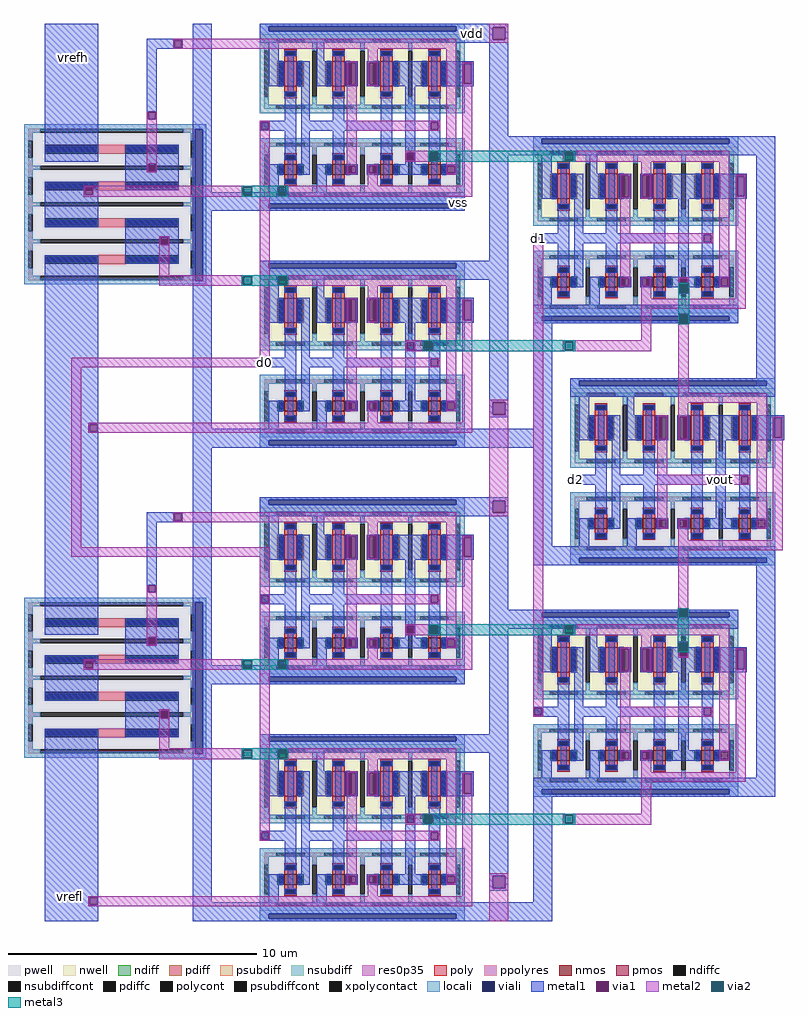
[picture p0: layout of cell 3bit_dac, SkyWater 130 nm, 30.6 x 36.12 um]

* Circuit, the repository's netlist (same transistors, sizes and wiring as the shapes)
** sch_path: /home/97ms/uci/ip/dac/1.schematics/3bit_dac.sch


.subckt 3bit_dac vdd vss vrefh vrefl d0 d1 d2 vout
X1 vdd vss vrefh net3 d0 d1 net1 2bit_dac
X2 vdd vss net3 vrefl d0 d1 net2 2bit_dac
X3 vdd vss d2 net1 net2 vout sw
.ends
** sch_path: /home/97ms/uci/ip/dac/1.schematics/sw.sch


.subckt sw vdd vss din vin1 vin2 vout
*.iopin vdd
*.iopin vss
*.iopin din
*.iopin vin1
*.iopin vin2
*.iopin vout
XM1 net1 din vdd vdd sky130_fd_pr__pfet_01v8 L=0.5 W=1
XM2 net2 net1 vdd vdd sky130_fd_pr__pfet_01v8 L=0.5 W=1
XM3 vout net1 vin1 vdd sky130_fd_pr__pfet_01v8 L=0.5 W=1
XM4 vin2 net2 vout vdd sky130_fd_pr__pfet_01v8 L=0.5 W=1
XM5 net1 din vss vss sky130_fd_pr__nfet_01v8 L=0.5 W=0.42
XM6 net2 net1 vss vss sky130_fd_pr__nfet_01v8 L=0.5 W=0.42
XM7 vout net1 vin2 vss sky130_fd_pr__nfet_01v8 L=0.5 W=0.42
XM8 vin1 net2 vout vss sky130_fd_pr__nfet_01v8 L=0.5 W=0.42
**.ends
.ends sw
** sch_path: /home/97ms/uci/ip/dac/1.schematics/2bit_dac.sch

.subckt 2bit_dac vdd vss vrefh vrefl d0 d1 vout
X1 vdd vss d0 net3 net4 net2 sw
X2 vdd vss d0 net5 vrefl net1 sw
X3 vdd vss d1 net2 net1 vout sw
XR1 net3 vrefh vss sky130_fd_pr__res_high_po_0p35 L=1.09 mult=1 
XR2 net4 net3 vss sky130_fd_pr__res_high_po_0p35 L=1.09 mult=1 
XR3 net5 net4 vss sky130_fd_pr__res_high_po_0p35 L=1.09 mult=1 
XR4 vrefl net5 vss sky130_fd_pr__res_high_po_0p35 L=1.09 mult=1 
.ends

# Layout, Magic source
magic
tech sky130B
<< metal1 >>
rect 2187 1947 2227 1987
rect 548 1820 648 1920
rect 3275 1477 3425 1553
rect 2131 1266 2171 1306
rect 2450 1158 2490 1163
rect 2450 1128 2455 1158
rect 2485 1128 2490 1158
rect 2450 1123 2490 1128
rect 3037 951 3041 981
rect 3071 951 3077 981
rect 1350 623 1390 663
rect 3349 504 3425 1477
rect 1134 300 1156 301
rect 483 100 699 300
rect 1080 100 1156 300
rect 2450 -97 2526 403
rect 2600 150 2640 190
rect 3186 150 3226 190
rect 2450 -173 2600 -97
rect 3035 -540 3040 -510
rect 3070 -540 3075 -510
rect 2450 -778 2455 -748
rect 2485 -778 2490 -748
rect 3349 -1030 3425 -97
rect 3275 -1106 3425 -1030
rect 535 -1559 635 -1459
<< via1 >>
rect 2455 1128 2485 1158
rect 3041 951 3071 981
rect 3040 -540 3070 -510
rect 2455 -778 2485 -748
<< metal2 >>
rect 2450 1158 2490 1163
rect 2450 1128 2455 1158
rect 2485 1128 2490 1158
rect 590 623 1390 663
rect 590 -100 630 623
rect 2274 100 2350 300
rect 590 -140 1390 -100
rect 1350 -290 1390 -140
rect 2450 -748 2490 1128
rect 3035 981 3076 986
rect 3035 958 3041 981
rect 3071 958 3076 981
rect 3035 924 3039 958
rect 3073 924 3076 958
rect 3035 919 3076 924
rect 3035 835 3076 840
rect 3035 801 3039 835
rect 3073 801 3076 835
rect 3035 520 3076 801
rect 3035 -349 3075 -113
rect 3035 -383 3038 -349
rect 3072 -383 3075 -349
rect 3035 -390 3075 -383
rect 3035 -486 3075 -480
rect 3035 -520 3038 -486
rect 3072 -520 3075 -486
rect 3035 -540 3040 -520
rect 3070 -540 3075 -520
rect 3035 -545 3075 -540
rect 2450 -778 2455 -748
rect 2485 -778 2490 -748
rect 2450 -783 2490 -778
<< via2 >>
rect 3039 951 3041 958
rect 3041 951 3071 958
rect 3071 951 3073 958
rect 3039 924 3073 951
rect 3039 801 3073 835
rect 3038 -383 3072 -349
rect 3038 -510 3072 -486
rect 3038 -520 3040 -510
rect 3040 -520 3070 -510
rect 3070 -520 3072 -510
<< metal3 >>
rect 3034 958 3078 963
rect 3034 924 3039 958
rect 3073 924 3078 958
rect 3034 835 3078 924
rect 3034 801 3039 835
rect 3073 801 3078 835
rect 3034 796 3078 801
rect 3033 -349 3077 -346
rect 3033 -383 3038 -349
rect 3072 -383 3077 -349
rect 3033 -486 3077 -383
rect 3033 -520 3038 -486
rect 3072 -520 3077 -486
rect 3033 -523 3077 -520
use sw  sw_0
transform 1 0 2600 0 1 220
box 0 -393 860 360
use 2bit_dac  X1
transform 1 0 1350 0 1 1253
box -950 -953 1960 753
use 2bit_dac  X2
transform 1 0 1350 0 1 -653
box -950 -953 1960 753
<< labels >>
flabel metal1 548 1820 648 1920 0 FreeSans 128 0 0 0 vrefh
port 2 nsew
flabel metal1 535 -1559 635 -1459 0 FreeSans 128 0 0 0 vrefl
port 3 nsew
flabel metal1 2187 1947 2227 1987 0 FreeSans 128 0 0 0 vdd
port 0 nsew
flabel metal1 1350 623 1390 663 0 FreeSans 128 0 0 0 d0
port 4 nsew
flabel metal1 2450 1123 2490 1163 0 FreeSans 128 0 0 0 d1
port 5 nsew
flabel metal1 2600 150 2640 190 0 FreeSans 128 0 0 0 d2
port 6 nsew
flabel metal1 3186 150 3226 190 0 FreeSans 128 0 0 0 vout
port 7 nsew
flabel metal1 2131 1266 2171 1306 0 FreeSans 128 0 0 0 vss
port 1 nsew
<< end >>

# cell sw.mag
magic
tech sky130B
magscale 1 2
<< locali >>
rect 0 700 1650 720
rect 0 660 70 700
rect 1580 660 1650 700
rect 0 568 1650 660
rect 0 70 70 568
rect 1580 70 1650 568
rect 0 0 1650 70
rect 0 -270 1650 -200
rect 0 -634 70 -270
rect 1586 -634 1650 -270
rect 0 -726 1650 -634
rect 0 -766 70 -726
rect 1580 -766 1650 -726
rect 0 -786 1650 -766
<< viali >>
rect 70 660 1580 700
rect 70 -766 1580 -726
<< metal1 >>
rect 0 700 1650 720
rect 0 660 70 700
rect 1580 660 1650 700
rect 0 568 1650 660
rect 70 420 150 568
rect 70 218 190 420
rect 224 178 272 460
rect 456 420 516 568
rect 302 218 402 420
rect 456 218 576 420
rect 200 -60 292 132
rect 0 -140 292 -60
rect 200 -332 292 -140
rect 332 -60 402 218
rect 608 178 656 460
rect 688 408 788 420
rect 688 230 710 408
rect 770 230 788 408
rect 688 218 788 230
rect 862 408 962 420
rect 862 230 880 408
rect 940 230 962 408
rect 862 218 962 230
rect 994 178 1042 460
rect 1074 218 1348 420
rect 586 -60 678 132
rect 972 -60 1064 132
rect 332 -140 1064 -60
rect 70 -494 190 -410
rect 70 -634 150 -494
rect 222 -526 270 -378
rect 332 -410 402 -140
rect 586 -332 678 -140
rect 972 -332 1064 -140
rect 302 -494 402 -410
rect 456 -494 576 -410
rect 456 -634 536 -494
rect 608 -526 656 -378
rect 688 -422 788 -410
rect 688 -482 710 -422
rect 770 -482 788 -422
rect 688 -494 788 -482
rect 862 -422 962 -410
rect 862 -482 880 -422
rect 940 -482 962 -422
rect 862 -494 962 -482
rect 994 -526 1042 -378
rect 1170 -410 1252 218
rect 1380 178 1428 460
rect 1460 400 1720 420
rect 1460 240 1640 400
rect 1700 240 1720 400
rect 1460 218 1720 240
rect 1358 -70 1450 132
rect 1358 -130 1374 -70
rect 1434 -130 1450 -70
rect 1358 -332 1450 -130
rect 1074 -494 1348 -410
rect 1380 -526 1428 -378
rect 1460 -422 1580 -410
rect 1460 -482 1510 -422
rect 1570 -482 1580 -422
rect 1460 -494 1580 -482
rect 0 -726 1650 -634
rect 0 -766 70 -726
rect 1580 -766 1650 -726
rect 0 -786 1650 -766
<< via1 >>
rect 710 230 770 408
rect 880 230 940 408
rect 710 -482 770 -422
rect 880 -482 940 -422
rect 1640 240 1700 400
rect 1374 -130 1434 -70
rect 1510 -482 1570 -422
<< metal2 >>
rect 870 520 1580 600
rect 700 408 780 420
rect 700 230 710 408
rect 770 230 780 408
rect 700 -60 780 230
rect 870 408 950 520
rect 870 230 880 408
rect 940 230 950 408
rect 870 220 950 230
rect 700 -70 1450 -60
rect 700 -130 1374 -70
rect 1434 -130 1450 -70
rect 700 -140 1450 -130
rect 700 -422 780 -140
rect 700 -482 710 -422
rect 770 -482 780 -422
rect 700 -492 780 -482
rect 870 -422 950 -412
rect 870 -482 880 -422
rect 940 -482 950 -422
rect 870 -586 950 -482
rect 1500 -422 1580 520
rect 1500 -482 1510 -422
rect 1570 -482 1580 -422
rect 1500 -494 1580 -482
rect 1630 400 1710 410
rect 1630 240 1640 400
rect 1700 240 1710 400
rect 1630 -586 1710 240
rect 870 -666 1710 -586
use sky130_fd_pr__pfet_01v8_XPYSY6  XM1
transform 1 0 246 0 1 319
box -246 -319 246 319
use sky130_fd_pr__pfet_01v8_XPYSY6  XM2
transform 1 0 632 0 1 319
box -246 -319 246 319
use sky130_fd_pr__pfet_01v8_XPYSY6  XM3
transform 1 0 1018 0 1 319
box -246 -319 246 319
use sky130_fd_pr__pfet_01v8_XPYSY6  XM4
transform 1 0 1404 0 1 319
box -246 -319 246 319
use sky130_fd_pr__nfet_01v8_ZFH27D  XM5
transform 1 0 246 0 1 -452
box -246 -252 246 252
use sky130_fd_pr__nfet_01v8_ZFH27D  XM6
transform 1 0 632 0 1 -452
box -246 -252 246 252
use sky130_fd_pr__nfet_01v8_ZFH27D  XM7
transform 1 0 1018 0 1 -452
box -246 -252 246 252
use sky130_fd_pr__nfet_01v8_ZFH27D  XM8
transform 1 0 1404 0 1 -452
box -246 -252 246 252
<< labels >>
flabel metal1 20 660 60 700 0 FreeSans 128 0 0 0 vdd
port 0 nsew
flabel metal1 20 -766 60 -726 0 FreeSans 128 0 0 0 vss
port 1 nsew
flabel metal1 0 -120 40 -80 0 FreeSans 128 0 0 0 din
port 2 nsew
flabel metal1 862 380 902 420 0 FreeSans 128 0 0 0 vin1
port 3 nsew
flabel metal1 862 -494 902 -454 0 FreeSans 128 0 0 0 vin2
port 4 nsew
flabel metal1 1180 -120 1220 -80 0 FreeSans 128 0 0 0 vout
port 5 nsew
<< end >>

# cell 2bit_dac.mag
magic
tech sky130B
magscale 1 2
<< locali >>
rect -1900 660 -432 698
rect -1900 644 -520 660
rect -1900 -544 -1846 644
rect -540 -544 -520 644
rect -1900 -560 -520 -544
rect -460 -560 -432 660
rect -1900 -592 -432 -560
<< viali >>
rect -520 -560 -460 660
<< metal1 >>
rect -1734 398 -1302 1506
rect -910 1376 -620 1386
rect -910 1316 -690 1376
rect -630 1316 -620 1376
rect -910 1306 -620 1316
rect -910 800 -830 1306
rect -910 740 -900 800
rect -840 740 -830 800
rect -540 660 -388 1506
rect 0 1486 22 1506
rect 0 1446 60 1486
rect 1650 1480 2000 1506
rect 0 1354 22 1446
rect 1650 1380 1874 1480
rect 1974 1380 2000 1480
rect 1650 1354 2000 1380
rect -1084 380 -652 532
rect -1084 320 -900 380
rect -840 320 -652 380
rect -1734 190 -1302 236
rect -1734 130 -1406 190
rect -1346 130 -1302 190
rect -1084 166 -652 320
rect -1734 -130 -1302 130
rect -1084 -212 -652 -60
rect -1084 -272 -800 -212
rect -740 -272 -652 -212
rect -1734 -1716 -1302 -356
rect -1084 -426 -652 -272
rect -1734 -1776 -1372 -1716
rect -1312 -1776 -1302 -1716
rect -1734 -1906 -1302 -1776
rect -540 -560 -520 660
rect -460 152 -388 660
rect 0 656 10 716
rect 70 656 80 716
rect 1848 600 2000 1354
rect 1172 410 1182 470
rect 1242 410 1252 470
rect 1848 448 2200 600
rect -460 0 0 152
rect 20 20 60 60
rect -460 -560 -388 0
rect 1848 -400 2000 448
rect 2200 -240 2240 -200
rect 3380 -240 3420 -200
rect 1650 -552 2000 -400
rect -540 -1754 -388 -560
rect 1172 -1116 1182 -1056
rect 1242 -1116 1252 -1056
rect 0 -1250 10 -1190
rect 70 -1250 80 -1190
rect 1848 -1540 2000 -552
rect 1848 -1640 1874 -1540
rect 1974 -1640 2000 -1540
rect 1848 -1660 2000 -1640
rect 2200 -796 2214 -754
rect 2200 -1754 2352 -796
rect -540 -1906 0 -1754
rect 1650 -1906 2352 -1754
<< via1 >>
rect -690 1316 -630 1376
rect -900 740 -840 800
rect 1874 1380 1974 1480
rect -900 320 -840 380
rect -1406 130 -1346 190
rect -800 -272 -740 -212
rect -1372 -1776 -1312 -1716
rect 10 656 70 716
rect 1182 410 1242 470
rect 1182 -1116 1242 -1056
rect 10 -1250 70 -1190
rect 1874 -1640 1974 -1540
<< metal2 >>
rect 1848 1480 2000 1506
rect -700 1376 870 1386
rect -700 1316 -690 1376
rect -630 1316 870 1376
rect 1848 1380 1874 1480
rect 1974 1380 2000 1480
rect 1848 1354 2000 1380
rect -700 1306 870 1316
rect -910 740 -900 800
rect -840 740 -830 800
rect -910 380 -830 740
rect -910 320 -900 380
rect -840 320 -830 380
rect -910 310 -830 320
rect 0 716 80 726
rect 0 656 10 716
rect 70 656 80 716
rect -1420 194 -60 204
rect -1420 190 -134 194
rect -1420 130 -1406 190
rect -1346 130 -134 190
rect -1420 126 -134 130
rect -68 126 -60 194
rect -1420 116 -60 126
rect -810 -212 -730 -202
rect -810 -272 -800 -212
rect -740 -272 -730 -212
rect -810 -516 -730 -272
rect -810 -526 -60 -516
rect -810 -594 -134 -526
rect -68 -594 -60 -526
rect -810 -604 -60 -594
rect 0 -1190 80 656
rect 1170 474 1434 484
rect 1170 470 1366 474
rect 1170 410 1182 470
rect 1242 410 1366 470
rect 1170 406 1366 410
rect 1170 396 1434 406
rect 2440 474 3780 484
rect 2440 406 2456 474
rect 2524 406 3780 474
rect 2440 396 3780 406
rect 140 194 1710 204
rect 140 126 146 194
rect 212 126 1710 194
rect 140 116 1710 126
rect 140 -526 1580 -516
rect 140 -594 146 -526
rect 214 -594 1580 -526
rect 140 -604 1580 -594
rect 3070 -1042 3150 -786
rect 1170 -1052 1400 -1042
rect 1170 -1056 1320 -1052
rect 1170 -1116 1182 -1056
rect 1242 -1116 1320 -1056
rect 1170 -1120 1320 -1116
rect 1388 -1120 1400 -1052
rect 1170 -1130 1400 -1120
rect 2440 -1052 3150 -1042
rect 2440 -1120 2456 -1052
rect 2524 -1120 3150 -1052
rect 2440 -1130 3150 -1120
rect 0 -1250 10 -1190
rect 70 -1250 80 -1190
rect 0 -1260 80 -1250
rect 1848 -1540 2000 -1520
rect 1848 -1640 1874 -1540
rect 1974 -1640 2000 -1540
rect -1382 -1716 870 -1706
rect -1382 -1776 -1372 -1716
rect -1312 -1776 870 -1716
rect -1382 -1786 870 -1776
rect 1848 -1906 2000 -1640
<< via2 >>
rect -134 126 -68 194
rect -134 -594 -68 -526
rect 1366 406 1434 474
rect 2456 406 2524 474
rect 146 126 212 194
rect 146 -594 214 -526
rect 1320 -1120 1388 -1052
rect 2456 -1120 2524 -1052
<< metal3 >>
rect 1356 474 2540 484
rect 1356 406 1366 474
rect 1434 406 2456 474
rect 2524 406 2540 474
rect 1356 396 2540 406
rect -146 194 226 204
rect -146 126 -134 194
rect -68 126 146 194
rect 212 126 226 194
rect -146 116 226 126
rect -146 -526 226 -516
rect -146 -594 -134 -526
rect -68 -594 146 -526
rect 214 -594 226 -526
rect -146 -604 226 -594
rect 1310 -1052 2540 -1042
rect 1310 -1120 1320 -1052
rect 1388 -1120 2456 -1052
rect 2524 -1120 2540 -1052
rect 1310 -1130 2540 -1120
use sw  X1
transform 1 0 0 0 1 786
box 0 -786 1720 720
use sw  X2
transform 1 0 0 0 1 -1120
box 0 -786 1720 720
use sw  X3
transform 1 0 2200 0 1 -120
box 0 -786 1720 720
use sky130_fd_pr__res_high_po_0p35_2NY7PZ  XR1
transform 0 -1 -1193 1 0 497
box -201 -707 201 707
use sky130_fd_pr__res_high_po_0p35_2NY7PZ  XR2
transform 0 -1 -1193 1 0 201
box -201 -707 201 707
use sky130_fd_pr__res_high_po_0p35_2NY7PZ  XR3
transform 0 -1 -1193 1 0 -95
box -201 -707 201 707
use sky130_fd_pr__res_high_po_0p35_2NY7PZ  XR4
transform 0 -1 -1193 1 0 -391
box -201 -707 201 707
<< labels >>
flabel metal1 0 666 40 706 0 FreeSans 256 0 0 0 d0
port 4 nsew
flabel metal1 20 1446 60 1486 0 FreeSans 256 0 0 0 vdd
port 0 nsew
flabel metal1 20 20 60 60 0 FreeSans 256 0 0 0 vss
port 1 nsew
flabel metal1 2200 -240 2240 -200 0 FreeSans 256 0 0 0 d1
port 5 nsew
flabel metal1 3380 -240 3420 -200 0 FreeSans 256 0 0 0 vout
port 6 nsew
flabel metal1 -1638 1396 -1598 1436 0 FreeSans 256 0 0 0 vrefh
port 2 nsew
flabel metal1 -1540 -1840 -1500 -1800 0 FreeSans 256 0 0 0 vrefl
port 3 nsew
<< end >>

# cell sky130_fd_pr__res_high_po_0p35_2NY7PZ: kit device sky130_fd_pr__res_high_po_0p35, w 0.350 l 1.09 m 1 nx 1 wmin 0.350 lmin 0.50 rho 319.8 val 2.109k dummy 0 dw 0.0 term 194.82 sterm 0.0 caplen 0 guard 1 glc 1 grc 1 gtc 1 gbc 1 compatible {sky130_fd_pr__res_high_po_0p35 sky130_fd_pr__res_high_po_0p69 sky130_fd_pr__res_high_po_1p41 sky130_fd_pr__res_high_po_2p85 sky130_fd_pr__res_high_po_5p73} snake 0 full_metal 1 wmax 0.350 vias 1 n_guard 0 hv_guard 0 viagb 0 viagt 0 viagl 0 viagr 0

# cell sky130_fd_pr__pfet_01v8_XPYSY6: kit device sky130_fd_pr__pfet_01v8, w 1.0 l 0.5 m 1 nf 1 diffcov 100 polycov 100 guard 1 glc 1 grc 1 gtc 1 gbc 1 tbcov 100 rlcov 100 topc 1 botc 1 poverlap 0 doverlap 1 lmin 0.15 wmin 0.42 compatible {sky130_fd_pr__pfet_01v8 sky130_fd_pr__pfet_01v8_lvt sky130_fd_pr__pfet_01v8_hvt sky130_fd_pr__pfet_g5v0d10v5} full_metal 1 viasrc 100 viadrn 100 viagate 100 viagb 0 viagr 0 viagl 0 viagt 0

# cell sky130_fd_pr__nfet_01v8_ZFH27D: kit device sky130_fd_pr__nfet_01v8, w 0.42 l 0.5 m 1 nf 1 diffcov 100 polycov 100 guard 1 glc 1 grc 1 gtc 1 gbc 1 tbcov 100 rlcov 100 topc 1 botc 1 poverlap 0 doverlap 1 lmin 0.15 wmin 0.42 compatible {sky130_fd_pr__nfet_01v8 sky130_fd_pr__nfet_01v8_lvt sky130_fd_bs_flash__special_sonosfet_star sky130_fd_pr__nfet_g5v0d10v5 sky130_fd_pr__nfet_05v0_nvt sky130_fd_pr__nfet_03v3_nvt} full_metal 1 viasrc 100 viadrn 100 viagate 100 viagb 0 viagr 0 viagl 0 viagt 0
